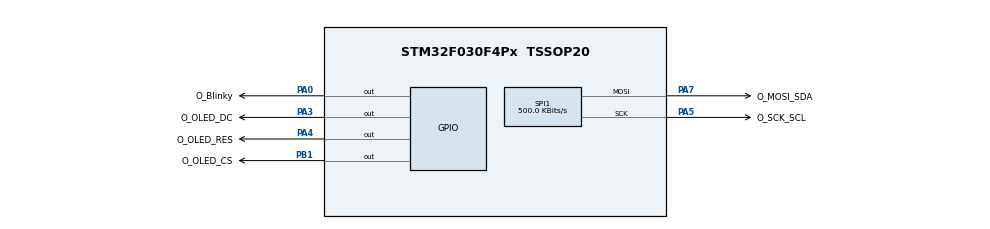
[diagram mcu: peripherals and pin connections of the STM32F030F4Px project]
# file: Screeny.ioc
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Mcu.Family=STM32F0
Mcu.Name=STM32F030F4Px
Mcu.Package=TSSOP20
PA0.GPIO_Label=O_Blinky
PA0.Signal=GPIO_Output
PA13.Mode=Serial_Wire
PA13.Signal=SYS_SWDIO
PA14.Mode=Serial_Wire
PA14.Signal=SYS_SWCLK
PA3.GPIO_Label=O_OLED_DC
PA3.Signal=GPIO_Output
PA4.GPIO_Label=O_OLED_RES
PA4.Signal=GPIO_Output
PA5.GPIO_Label=O_SCK_SCL
PA5.Mode=TX_Only_Simplex_Unidirect_Master
PA5.Signal=SPI1_SCK
PA7.GPIO_Label=O_MOSI_SDA
PA7.Mode=TX_Only_Simplex_Unidirect_Master
PA7.Signal=SPI1_MOSI
PB1.GPIO_Label=O_OLED_CS
PB1.Signal=GPIO_Output
ProjectManager.HeapSize=0x200
ProjectManager.StackSize=0x400
ProjectManager.TargetToolchain=STM32CubeIDE
RCC.AHBFreq_Value=8000000
RCC.APB1Freq_Value=8000000
RCC.APB1TimFreq_Value=8000000
RCC.HCLKFreq_Value=8000000
SPI1.BaudRatePrescaler=SPI_BAUDRATEPRESCALER_16
SPI1.CalculateBaudRate=500.0 KBits/s
SPI1.DataSize=SPI_DATASIZE_8BIT
SPI1.Direction=SPI_DIRECTION_2LINES
SPI1.Mode=SPI_MODE_MASTER
SPI1.VirtualType=VM_MASTER
board=custom

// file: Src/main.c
/* USER CODE BEGIN Header */
/**
  ******************************************************************************
  * @file           : main.c
  * @brief          : Main program body
  ******************************************************************************
  * @attention
  *
  * <h2><center>&copy; Copyright (c) 2019 STMicroelectronics.
  * All rights reserved.</center></h2>
  *
  * This software component is licensed by ST under BSD 3-Clause license,
  * the "License"; You may not use this file except in compliance with the
  * License. You may obtain a copy of the License at:
  *                        opensource.org/licenses/BSD-3-Clause
  *
  ******************************************************************************
  */
/* USER CODE END Header */

#include "main.h"

SPI_HandleTypeDef hspi1;

void SystemClock_Config(void);
static void MX_GPIO_Init(void);
static void MX_SPI1_Init(void);

int main(void)
{
  /* USER CODE BEGIN 1 */
	//int i=0;
	//char str[12];
  /* USER CODE END 1 */

  /* MCU Configuration--------------------------------------------------------*/

  /* Reset of all peripherals, Initializes the Flash interface and the Systick. */
  HAL_Init();

  /* Configure the system clock */
  SystemClock_Config();

  /* Initialize all configured peripherals */
  MX_GPIO_Init();
  MX_SPI1_Init();
  /* USER CODE BEGIN 2 */
  ssd1306_Init();
  ssd1306_Fill(Black);
  ssd1306_SetCursor(0, 0);
  ssd1306_WriteString("Hola Lulu", Font_11x18, White);
  ssd1306_SetCursor(0, 20);
  ssd1306_WriteString("OLED 10/10", Font_11x18, White);
  ssd1306_SetCursor(0, 40);
  ssd1306_WriteString("Hola Pepe", Font_11x18, White);
  ssd1306_UpdateScreen();
  /* USER CODE END 2 */

  /* Infinite loop */
  while (1)
  {

    /* USER CODE BEGIN 3 */
//	  ssd1306_SetCursor(0, 40);
//	  sprintf(str, "%d", i++);
//	  ssd1306_WriteString(str, Font_11x18, Black);
//	  ssd1306_SetCursor(0, 40);
//	  sprintf(str, "%d", i);
//  	  ssd1306_WriteString(str, Font_11x18, White);
  	  HAL_GPIO_TogglePin(GPIOA, O_Blinky_Pin);
//  	  ssd1306_UpdateScreen();
  	  HAL_Delay(200);

  	  ssd1306_Fill(Black);
  	  ssd1306_SetCursor(0, 0);
  	  ssd1306_WriteString("Hola Lulu", Font_11x18, White);
  	  ssd1306_SetCursor(0, 20);
  	  ssd1306_WriteString("Me refresco", Font_11x18, White);
  	  ssd1306_SetCursor(0, 40);
  	  ssd1306_WriteString("Hola Pepe", Font_11x18, White);
  	  ssd1306_UpdateScreen();
  }
  /* USER CODE END 3 */
}

void SystemClock_Config(void)
{
  RCC_OscInitTypeDef RCC_OscInitStruct = {0};
  RCC_ClkInitTypeDef RCC_ClkInitStruct = {0};

  /** Initializes the CPU, AHB and APB busses clocks
  */
  RCC_OscInitStruct.OscillatorType = RCC_OSCILLATORTYPE_HSI;
  RCC_OscInitStruct.HSIState = RCC_HSI_ON;
  RCC_OscInitStruct.HSICalibrationValue = RCC_HSICALIBRATION_DEFAULT;
  RCC_OscInitStruct.PLL.PLLState = RCC_PLL_NONE;
  if (HAL_RCC_OscConfig(&RCC_OscInitStruct) != HAL_OK)
  {
    Error_Handler();
  }
  /** Initializes the CPU, AHB and APB busses clocks
  */
  RCC_ClkInitStruct.ClockType = RCC_CLOCKTYPE_HCLK|RCC_CLOCKTYPE_SYSCLK
                              |RCC_CLOCKTYPE_PCLK1;
  RCC_ClkInitStruct.SYSCLKSource = RCC_SYSCLKSOURCE_HSI;
  RCC_ClkInitStruct.AHBCLKDivider = RCC_SYSCLK_DIV1;
  RCC_ClkInitStruct.APB1CLKDivider = RCC_HCLK_DIV1;

  if (HAL_RCC_ClockConfig(&RCC_ClkInitStruct, FLASH_LATENCY_0) != HAL_OK)
  {
    Error_Handler();
  }
}

static void MX_SPI1_Init(void)
{

  /* SPI1 parameter configuration*/
  hspi1.Instance = SPI1;
  hspi1.Init.Mode = SPI_MODE_MASTER;
  hspi1.Init.Direction = SPI_DIRECTION_2LINES;
  hspi1.Init.DataSize = SPI_DATASIZE_8BIT;
  hspi1.Init.CLKPolarity = SPI_POLARITY_LOW;
  hspi1.Init.CLKPhase = SPI_PHASE_1EDGE;
  hspi1.Init.NSS = SPI_NSS_SOFT;
  hspi1.Init.BaudRatePrescaler = SPI_BAUDRATEPRESCALER_16;
  hspi1.Init.FirstBit = SPI_FIRSTBIT_MSB;
  hspi1.Init.TIMode = SPI_TIMODE_DISABLE;
  hspi1.Init.CRCCalculation = SPI_CRCCALCULATION_DISABLE;
  hspi1.Init.CRCPolynomial = 7;
  hspi1.Init.CRCLength = SPI_CRC_LENGTH_DATASIZE;
  hspi1.Init.NSSPMode = SPI_NSS_PULSE_ENABLE;
  if (HAL_SPI_Init(&hspi1) != HAL_OK)
  {
    Error_Handler();
  }

}

static void MX_GPIO_Init(void)
{
  GPIO_InitTypeDef GPIO_InitStruct = {0};

  /* GPIO Ports Clock Enable */
  __HAL_RCC_GPIOA_CLK_ENABLE();
  __HAL_RCC_GPIOB_CLK_ENABLE();

  /*Configure GPIO pin Output Level */
  HAL_GPIO_WritePin(GPIOA, O_Blinky_Pin|O_OLED_DC_Pin|O_OLED_RES_Pin, GPIO_PIN_RESET);

  /*Configure GPIO pin Output Level */
  HAL_GPIO_WritePin(O_OLED_CS_GPIO_Port, O_OLED_CS_Pin, GPIO_PIN_RESET);

  /*Configure GPIO pins : O_Blinky_Pin O_OLED_DC_Pin O_OLED_RES_Pin */
  GPIO_InitStruct.Pin = O_Blinky_Pin|O_OLED_DC_Pin|O_OLED_RES_Pin;
  GPIO_InitStruct.Mode = GPIO_MODE_OUTPUT_PP;
  GPIO_InitStruct.Pull = GPIO_NOPULL;
  GPIO_InitStruct.Speed = GPIO_SPEED_FREQ_LOW;
  HAL_GPIO_Init(GPIOA, &GPIO_InitStruct);

  /*Configure GPIO pin : O_OLED_CS_Pin */
  GPIO_InitStruct.Pin = O_OLED_CS_Pin;
  GPIO_InitStruct.Mode = GPIO_MODE_OUTPUT_PP;
  GPIO_InitStruct.Pull = GPIO_NOPULL;
  GPIO_InitStruct.Speed = GPIO_SPEED_FREQ_LOW;
  HAL_GPIO_Init(O_OLED_CS_GPIO_Port, &GPIO_InitStruct);

}

void Error_Handler(void)
{
}

/************************ (C) COPYRIGHT STMicroelectronics *****END OF FILE****/
